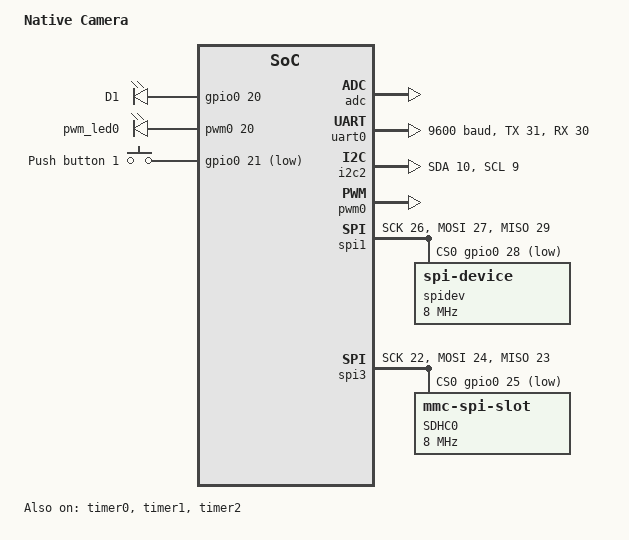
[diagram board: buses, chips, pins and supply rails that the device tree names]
/*
 * Copyright (c) 2018-2020 Nordic Semiconductor ASA
 *
 * SPDX-License-Identifier: Apache-2.0
 */

/ {
	model = "Native Camera";
	compatible = "BoSL,nativecamera";

	chosen {
		zephyr,console = &uart0;
		zephyr,shell-uart = &uart0;
		zephyr,uart-mcumgr = &uart0;
	};

	leds {
		compatible = "gpio-leds";
		led0: led_0 {
			gpios = <&gpio0 20 0>;
			label = "D1";
		};
	};

	pwmleds {
		compatible = "pwm-leds";
		pwm_led0: pwm_led_0 {
			pwms = <&pwm0 20>;
		};
	};

	buttons {
		compatible = "gpio-keys";
		button0: button_0 {
			gpios = <&gpio0 21 (GPIO_PULL_UP | GPIO_ACTIVE_LOW)>;
			label = "Push button 1";
		};
	};
	
		

	/* These aliases are provided for compatibility with samples */
	aliases {
		led0 = &led0;
		pwm-led0 = &pwm_led0;
		sw0 = &button0;
		bootloader-led0 = &led0;
	};
};

&adc {
	status = "okay";
};

&gpiote {
	status = "okay";
};

&gpio0 {
	status = "okay";
};


&uart0 {
	status = "okay";
	current-speed = <115200>;
	tx-pin = <0xFFFFFFFF>;
	rx-pin = <0xFFFFFFFF>;
	rx-pull-up;
	rts-pin = <0xFFFFFFFF>;
	cts-pin = <0xFFFFFFFF>;
	cts-pull-up;
};

// arduino_serial: &uart1 {
arduino_serial: &uart0 {
	status = "okay";
	current-speed = <9600>;
	tx-pin = <31>;
	rx-pin = <30>;
};

/*
&uart2 {
	tx-pin = <24>;
	rx-pin = <23>;
};
*/

arduino_i2c: &i2c2 {
	compatible = "nordic,nrf-twim";
	status = "okay";
	sda-pin = <10>;
	scl-pin = <9>;
};

&pwm0 {
	status = "okay";
	ch0-pin = <20>;
};

&spi1 {
	compatible = "nordic,nrf-spim";
	status = "okay";
	sck-pin = <26>;
	mosi-pin = <27>;
	miso-pin = <29>;
	cs-gpios = <&gpio0 28 GPIO_ACTIVE_LOW>;

	spidev: spi-device@0 {
		reg = <0>;
		status = "okay";
		spi-max-frequency = <8000000>;
	};
};

&spi3 {
        compatible = "nordic,nrf-spim";
        status = "okay";
        sck-pin = <22>;
        mosi-pin = <24>;
        miso-pin = <23>;

        cs-gpios = <&gpio0 25 GPIO_ACTIVE_LOW>;

        sdhc0: sdhc@0 {
                compatible = "zephyr,mmc-spi-slot";
                reg = <0>;
                status = "okay";
                label = "SDHC0";
                spi-max-frequency = <8000000>;
        };
};

&timer0 {
	status = "okay";
};

&timer1 {
	status = "okay";
};

&timer2 {
	status = "okay";
};

&flash0 {

	partitions {
		compatible = "fixed-partitions";
		#address-cells = <1>;
		#size-cells = <1>;

		boot_partition: partition@0 {
			label = "mcuboot";
			reg = <0x00000000 0x10000>;
		};
		slot0_partition: partition@10000 {
			label = "image-0";
		};
		slot0_ns_partition: partition@50000 {
			label = "image-0-nonsecure";
		};
		slot1_partition: partition@80000 {
			label = "image-1";
		};
		slot1_ns_partition: partition@c0000 {
			label = "image-1-nonsecure";
		};
		scratch_partition: partition@f0000 {
			label = "image-scratch";
			reg = <0x000f0000 0xa000>;
		};
		storage_partition: partition@fa000 {
			label = "storage";
			reg = <0x000fa000 0x00006000>;
		};
	};
};

/ {

	reserved-memory {
		#address-cells = <1>;
		#size-cells = <1>;
		ranges;

		sram0_s: image_s@20000000 {
			/* Secure image memory */
		};

		sram0_modem: image_modem@20016000 {
			/* Modem (shared) memory */
		};

		sram0_ns: image_ns@20020000 {
			/* Non-Secure image memory */
		};
	};
};

/* Include partition configuration file */
#include "native_camera_partition_conf.dts"
